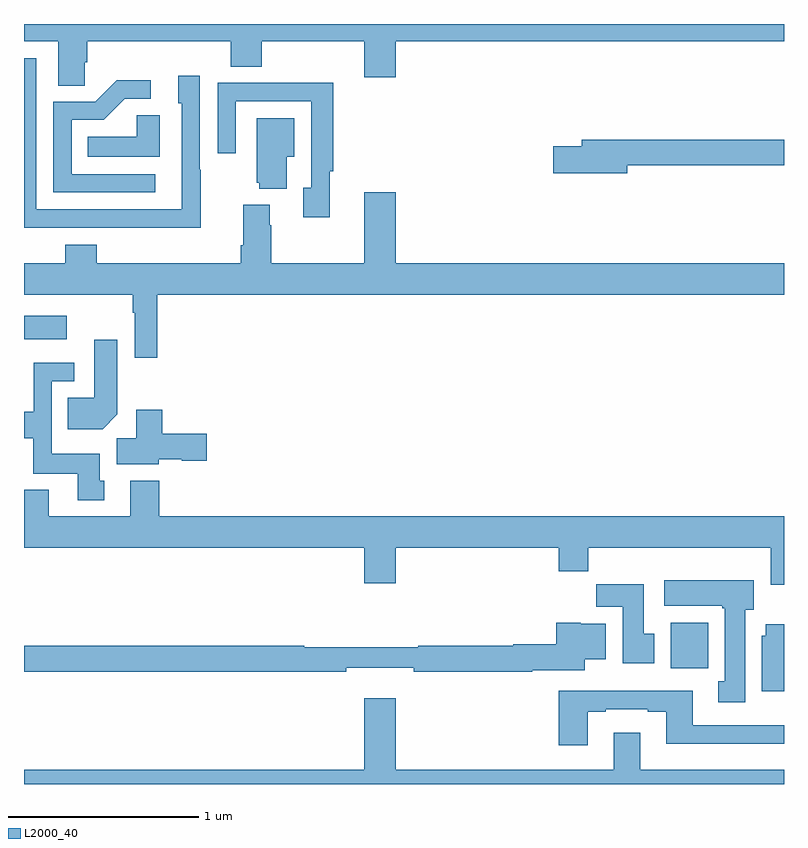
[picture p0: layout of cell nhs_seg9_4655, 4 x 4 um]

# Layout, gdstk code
import gdstk
lib = gdstk.Library(unit=1e-6, precision=1e-09)
def R(c, l, rs):  # rectangles x0, y0, x1, y1
    for r in rs: c.add(gdstk.rectangle(r[:2], r[2:], *l))
def P(c, l, *ps):  # polygons
    for p in ps: c.add(gdstk.Polygon(p, *l))
L2000_40 = (2000, 40)

nhs_seg9_4655 = lib.new_cell('nhs_seg9_4655')
R(nhs_seg9_4655, L2000_40, [(382.403,1205.108,382.6,1205.35), (379,1206.842,379.225,1206.964)])
P(nhs_seg9_4655, L2000_40, [(379.32,1208.299),(379.334,1208.299),(379.334,1208.408),(380.087,1208.408),(380.087,1208.275),(380.252,1208.275),(380.252,1208.408),(380.792,1208.408),(380.792,1208.22),(380.956,1208.22),(380.956,1208.408),(383,1208.408),(383,1208.5),(379,1208.5),(379,1208.408),(379.181,1208.408),(379.181,1208.176),(379.32,1208.176)],
  [(379.929,1207.733),(379.926,1207.733),(379.926,1208.227),(379.811,1208.227),(379.811,1208.082),(379.83,1208.082),(379.83,1207.524),(379.065,1207.524),(379.065,1208.319),(379,1208.319),(379,1207.428),(379.465,1207.428),(379.465,1207.427),(379.929,1207.427)],
  [(379.69,1207.71),(379.251,1207.71),(379.251,1207.995),(379.42,1207.995),(379.531,1208.106),(379.666,1208.106),(379.666,1208.204),(379.487,1208.204),(379.374,1208.091),(379.155,1208.091),(379.155,1207.614),(379.69,1207.614)],
  [(380.609,1207.726),(380.627,1207.726),(380.627,1208.192),(380.335,1208.192),(380.335,1208.19),(380.019,1208.19),(380.019,1207.821),(380.115,1207.821),(380.115,1208.094),(380.511,1208.094),(380.511,1207.638),(380.471,1207.638),(380.471,1207.482),(380.609,1207.482)],
  [(379.714,1208.021),(379.593,1208.021),(379.593,1207.906),(379.336,1207.906),(379.336,1207.802),(379.714,1207.802)],
  [(380.383,1207.802),(380.422,1207.802),(380.422,1208.005),(380.225,1208.005),(380.225,1207.665),(380.237,1207.665),(380.237,1207.634),(380.383,1207.634)],
  [(382.174,1207.756),(383,1207.756),(383,1207.892),(381.935,1207.892),(381.935,1207.856),(381.786,1207.856),(381.786,1207.714),(382.174,1207.714)],
  [(379.7,1207.076),(383,1207.076),(383,1207.24),(380.956,1207.24),(380.956,1207.615),(380.792,1207.615),(380.792,1207.24),(380.301,1207.24),(380.301,1207.442),(380.293,1207.442),(380.293,1207.549),(380.153,1207.549),(380.153,1207.336),(380.141,1207.336),(380.141,1207.24),(379.382,1207.24),(379.382,1207.339),(379.217,1207.339),(379.217,1207.24),(379,1207.24),(379,1207.076),(379.572,1207.076),(379.572,1206.98),(379.584,1206.98),(379.584,1206.744),(379.7,1206.744)],
  [(379.492,1206.446),(379.492,1206.838),(379.37,1206.838),(379.37,1206.532),(379.231,1206.532),(379.231,1206.368),(379.414,1206.368)],
  [(379.423,1206.096),(379.399,1206.096),(379.399,1206.238),(379.146,1206.238),(379.146,1206.621),(379.264,1206.621),(379.264,1206.717),(379.05,1206.717),(379.05,1206.46),(379,1206.46),(379,1206.32),(379.048,1206.32),(379.048,1206.134),(379.283,1206.134),(379.283,1205.994),(379.423,1205.994)],
  [(379.71,1206.209),(379.83,1206.209),(379.83,1206.202),(379.963,1206.202),(379.963,1206.344),(379.727,1206.344),(379.727,1206.469),(379.592,1206.469),(379.592,1206.32),(379.487,1206.32),(379.487,1206.182),(379.71,1206.182)],
  [(383,1205.908),(379.712,1205.908),(379.712,1206.097),(379.559,1206.097),(379.559,1205.908),(379.129,1205.908),(379.129,1206.049),(379,1206.049),(379,1205.744),(380.792,1205.744),(380.792,1205.556),(380.956,1205.556),(380.956,1205.744),(381.815,1205.744),(381.815,1205.62),(381.971,1205.62),(381.971,1205.744),(382.931,1205.744),(382.931,1205.55),(383,1205.55)],
  [(382.795,1205.418),(382.84,1205.418),(382.84,1205.572),(382.371,1205.572),(382.371,1205.438),(382.675,1205.438),(382.675,1205.425),(382.688,1205.425),(382.688,1205.042),(382.655,1205.042),(382.655,1204.929),(382.795,1204.929)],
  [(382.318,1205.292),(382.261,1205.292),(382.261,1205.551),(382.012,1205.551),(382.012,1205.432),(382.151,1205.432),(382.151,1205.136),(382.318,1205.136)],
  [(380.696,1205.111),(381.052,1205.111),(381.052,1205.092),(381.676,1205.092),(381.676,1205.099),(381.952,1205.099),(381.952,1205.156),(382.063,1205.156),(382.063,1205.344),(381.93,1205.344),(381.93,1205.35),(381.8,1205.35),(381.8,1205.236),(381.576,1205.236),(381.576,1205.228),(381.076,1205.228),(381.076,1205.221),(380.476,1205.221),(380.476,1205.228),(379,1205.228),(379,1205.092),(380.696,1205.092)],
  [(383,1205.341),(382.904,1205.341),(382.904,1205.28),(382.883,1205.28),(382.883,1204.988),(383,1204.988)],
  [(381.967,1204.881),(382.063,1204.881),(382.063,1204.893),(382.283,1204.893),(382.283,1204.881),(382.379,1204.881),(382.379,1204.712),(383,1204.712),(383,1204.809),(382.519,1204.809),(382.519,1204.99),(381.815,1204.99),(381.815,1204.704),(381.967,1204.704)],
  [(383,1204.576),(382.243,1204.576),(382.243,1204.771),(382.103,1204.771),(382.103,1204.576),(380.956,1204.576),(380.956,1204.951),(380.792,1204.951),(380.792,1204.576),(379,1204.576),(379,1204.5),(383,1204.5)])

lib.write_gds('nhs_seg9_4655.gds')
